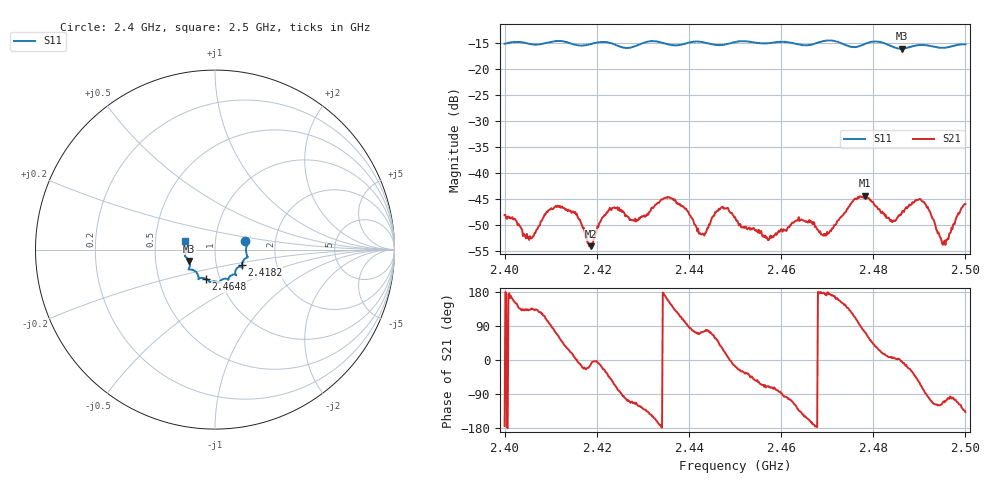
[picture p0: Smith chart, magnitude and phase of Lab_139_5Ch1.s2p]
# Hz S RI R 50
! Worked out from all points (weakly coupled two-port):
!   601 points, 2.4 GHz to 2.5 GHz, reference 50 ohm
!   highest |S21| = -44.29 dB at 2.4782 GHz (marker M1); lowest = -54.0 dB at 2.4187 GHz (marker M2)
!   lowest |S11| = -16.1 dB at 2.4862 GHz (marker M3), VSWR 1.37, Z = 37.2 - j4.81 ohm
!   |S11| at or under -10 dB: start of sweep to end of sweep
!   S12 and S22 are empty: the file has one direction only
!   S11 on the Smith chart (normalised r, x): 2.4 GHz: 1.40, +0.13; 2.4182 GHz: 1.33, -0.23; 2.4648 GHz: 0.86, -0.29; 2.5 GHz: 0.71, +0.07
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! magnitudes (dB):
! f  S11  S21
! 2.4 GHz  -15.1  -48.0
! 2.4055 GHz  -15.1  -52.1
! 2.4112 GHz  -14.6  -46.3
! 2.4167 GHz  -15.5  -49.8
! 2.4182 GHz  -15.3  -53.4
! 2.4187 GHz  -15.2  -54.0
! 2.423 GHz  -15.0  -47.0
! 2.4285 GHz  -15.5  -49.3
! 2.4333 GHz  -14.7  -45.7
! 2.4428 GHz  -14.8  -51.7
! 2.4468 GHz  -15.4  -46.8
! 2.45 GHz  -14.8  -48.4
! 2.4572 GHz  -15.0  -52.9
! 2.4648 GHz  -15.4  -49.1
! 2.4667 GHz  -15.2  -49.4
! 2.47 GHz  -14.5  -51.3
! 2.4782 GHz  -15.1  -44.3
! 2.4833 GHz  -15.3  -48.5
! 2.4862 GHz  -16.1  -47.7
! 2.4905 GHz  -15.3  -45.3
! 2.4953 GHz  -15.9  -53.2
! 2.5 GHz  -15.2  -45.9
